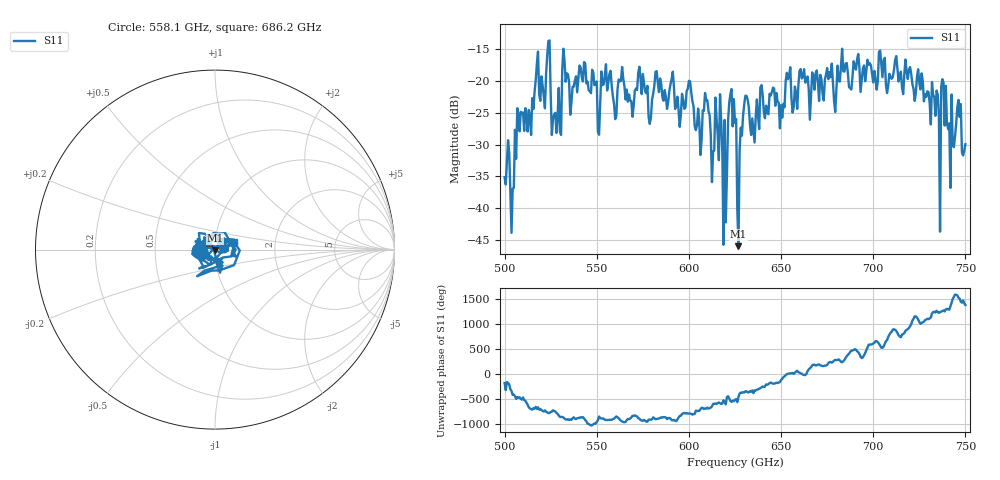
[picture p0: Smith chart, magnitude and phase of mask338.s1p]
!Created with skrf (http://scikit-rf.org).
# GHz S MA R 50.0
!freq magS11 angS11
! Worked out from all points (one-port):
!   401 points, 500 GHz to 750 GHz, reference 50 ohm
!   lowest |S11| = -45.9 dB at 626.9 GHz (marker M1), VSWR 1.01, Z = 49.9 - j0.499 ohm
!   |S11| at or under -10 dB: start of sweep to end of sweep
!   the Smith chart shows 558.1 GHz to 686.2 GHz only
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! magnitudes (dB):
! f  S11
! 500 GHz  -35.1
! 503.8 GHz  -43.8
! 508.1 GHz  -27.9
! 513.1 GHz  -24.6
! 517.5 GHz  -17.3
! 523.8 GHz  -13.7
! 526.9 GHz  -25.3
! 531.2 GHz  -18.4
! 562.5 GHz  -20.1
! 593.8 GHz  -22.5
! 610 GHz  -23.0
! 612.5 GHz  -35.9
! 616.2 GHz  -32.4
! 619.4 GHz  -26.1
! 622.5 GHz  -22.1
! 625 GHz  -26.6
! 626.9 GHz  -45.9
! 631.2 GHz  -22.3
! 634.4 GHz  -25.9
! 656.2 GHz  -25.0
! 687.5 GHz  -21.1
! 718.8 GHz  -19.7
! 733.1 GHz  -22.5
! 735 GHz  -22.2
! 738.1 GHz  -20.3
! 743.1 GHz  -30.0
! 746.2 GHz  -23.0
! 750 GHz  -29.9
